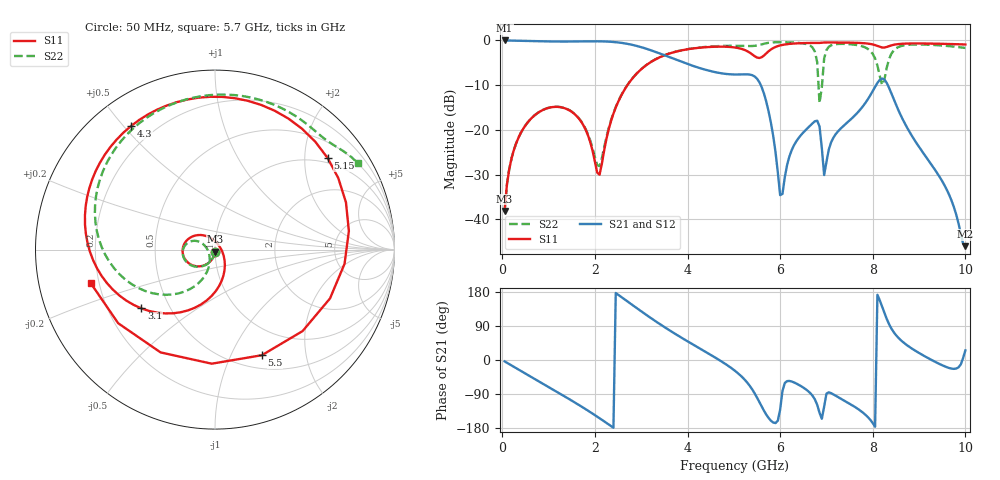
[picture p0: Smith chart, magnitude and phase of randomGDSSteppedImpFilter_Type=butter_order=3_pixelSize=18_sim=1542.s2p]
! freq	dB(S11)	phase(S11)	dB(S12)	phase(S12)
!  dB(S21)	phase(S21)	dB(S22)	phase(S22)
!S-par simulation data
#  GHz  S  DB  R 50
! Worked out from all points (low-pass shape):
!   200 points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, 50 MHz to 10 GHz, reference 50 ohm
!   highest |S21| = -0.01 dB at 50 MHz (marker M1); lowest = -46.0 dB at 10 GHz (marker M2)
!   |S21| within 3 dB of the highest: start of sweep to 3.424 GHz
!   lowest |S11| = -38.2 dB at 50 MHz (marker M3), VSWR 1.03, Z = 49.9 - j1.23 ohm
!   |S11| at or under -10 dB: start of sweep to 2.702 GHz
!   |S22| runs from -38.2 to -0.4 dB; largest |S21 - S12| = 0
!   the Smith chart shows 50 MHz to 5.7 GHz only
!   S11 on the Smith chart (normalised r, x): 50 MHz: 1.00, -0.02; 3.1 GHz: 0.35, -0.31; 4.3 GHz: 0.12, +0.53; 5.15 GHz: 0.87, +2.56; 5.5 GHz: 0.66, -1.32; 5.7 GHz: 0.17, -0.13
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0.05  -38.15 -92.3  -0.01 -3.7  -0.01 -3.7  -38.15 -92.2
0.6  -17.71 -134.1  -0.13 -43.0  -0.13 -43.0  -17.70 -132.7
1.75  -18.95 133.9  -0.21 -125.9  -0.21 -125.9  -18.83 155.1
2.1  -30.03 18.8  -0.20 -153.6  -0.20 -153.6  -28.11 -150.3
3.1  -5.60 -141.4  -1.82 119.9  -1.82 119.9  -5.58 -161.5
3.4  -3.76 -167.0  -2.91 94.9  -2.91 94.9  -3.74 174.7
4.3  -1.59 124.1  -6.30 27.9  -6.30 27.9  -1.53 111.0
5.05  -1.62 54.2  -7.62 -31.0  -7.62 -31.0  -1.20 64.9
5.15  -1.84 39.1  -7.61 -41.6  -7.61 -41.6  -1.22 59.3
5.5  -3.83 -66.1  -8.55 -99.1  -8.55 -99.1  -1.13 42.2
5.7  -2.89 -164.8  -13.68 -144.0  -13.68 -144.0  -0.62 31.1
6  -1.12 117.5  -34.58 -130.8  -34.58 -130.8  -0.39 10.9
6.7  -0.57 51.0  -18.53 -94.3  -18.53 -94.3  -1.59 -50.1
6.85  -0.56 42.2  -19.22 -139.1  -19.22 -139.1  -13.99 -106.7
6.9  -0.51 39.4  -24.06 -155.2  -24.06 -155.2  -10.51 39.8
7.05  -0.45 30.5  -24.40 -85.2  -24.40 -85.2  -1.43 -14.2
7.6  -0.52 2.2  -16.90 -122.8  -16.90 -122.8  -0.95 -70.1
8.1  -1.23 -21.0  -9.51 172.0  -9.51 172.0  -5.59 -160.8
8.25  -1.59 -22.7  -8.74 124.8  -8.74 124.8  -8.81 61.9
8.35  -1.28 -24.2  -10.55 95.0  -10.55 95.0  -4.22 -1.7
8.9  -0.67 -46.4  -22.25 25.8  -22.25 25.8  -0.91 -90.5
10  -0.91 -86.3  -46.00 25.3  -46.00 25.3  -1.68 176.5
